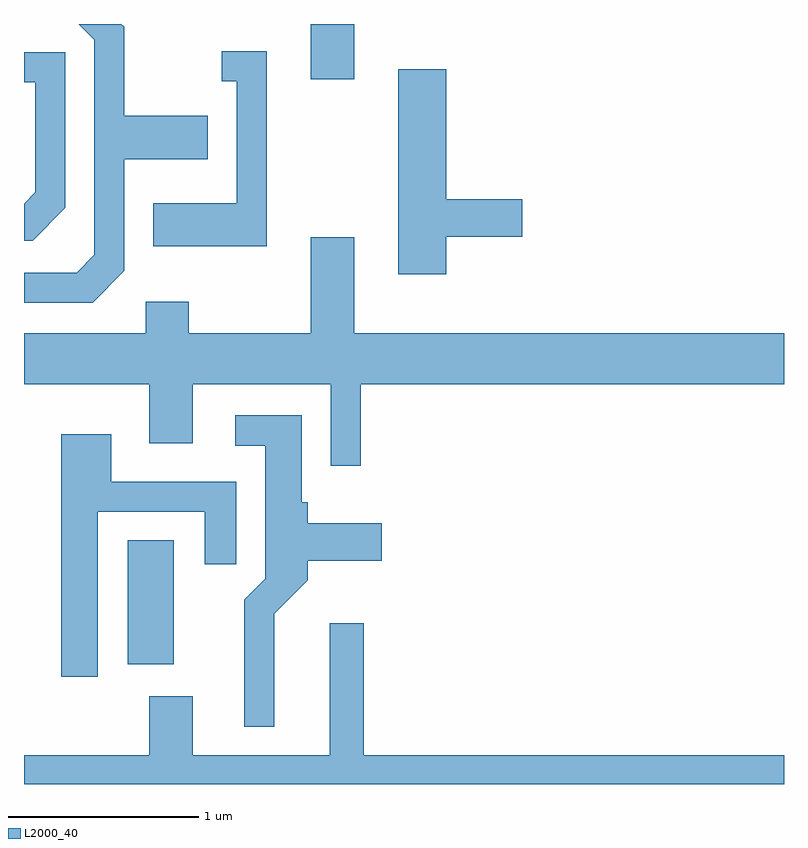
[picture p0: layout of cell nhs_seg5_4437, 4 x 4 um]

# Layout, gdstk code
import gdstk
lib = gdstk.Library(unit=1e-6, precision=1e-09)
def R(c, l, rs):  # rectangles x0, y0, x1, y1
    for r in rs: c.add(gdstk.rectangle(r[:2], r[2:], *l))
def P(c, l, *ps):  # polygons
    for p in ps: c.add(gdstk.Polygon(p, *l))
L2000_40 = (2000, 40)

nhs_seg5_4437 = lib.new_cell('nhs_seg5_4437')
R(nhs_seg5_4437, L2000_40, [(318.156,1408.701,318.399,1409.354), (319.121,1411.781,319.349,1412.072)])
P(nhs_seg5_4437, L2000_40, [(318.139,1410.774),(318.139,1411.361),(318.579,1411.361),(318.579,1411.589),(318.139,1411.589),(318.139,1412.057),(318.124,1412.072),(317.898,1412.072),(317.981,1411.989),(317.981,1410.857),(317.889,1410.764),(317.611,1410.764),(317.611,1410.606),(317.972,1410.606)],
  [(318.889,1411.929),(318.653,1411.929),(318.653,1411.771),(318.731,1411.771),(318.731,1411.129),(318.291,1411.129),(318.291,1410.901),(318.889,1410.901)],
  [(317.829,1411.104),(317.829,1411.924),(317.611,1411.924),(317.611,1411.766),(317.671,1411.766),(317.671,1411.187),(317.611,1411.126),(317.611,1410.931),(317.657,1410.931)],
  [(319.834,1410.951),(320.234,1410.951),(320.234,1411.149),(319.834,1411.149),(319.834,1411.834),(319.581,1411.834),(319.581,1410.756),(319.834,1410.756)],
  [(318.479,1410.609),(318.251,1410.609),(318.251,1410.444),(317.611,1410.444),(317.611,1410.176),(318.271,1410.176),(318.271,1409.866),(318.499,1409.866),(318.499,1410.176),(319.226,1410.176),(319.226,1409.748),(319.384,1409.748),(319.384,1410.176),(321.611,1410.176),(321.611,1410.444),(319.349,1410.444),(319.349,1410.949),(319.121,1410.949),(319.121,1410.444),(318.479,1410.444)],
  [(318.929,1408.969),(319.104,1409.144),(319.104,1409.246),(319.494,1409.246),(319.494,1409.444),(319.104,1409.444),(319.104,1409.554),(319.074,1409.554),(319.074,1410.014),(318.723,1410.014),(318.723,1409.851),(318.881,1409.851),(318.881,1409.152),(318.771,1409.042),(318.771,1408.373),(318.929,1408.373)],
  [(317.999,1409.506),(318.561,1409.506),(318.561,1409.228),(318.729,1409.228),(318.729,1409.664),(318.069,1409.664),(318.069,1409.914),(317.806,1409.914),(317.806,1408.636),(317.999,1408.636)],
  [(321.611,1408.224),(319.399,1408.224),(319.399,1408.919),(319.221,1408.919),(319.221,1408.224),(318.499,1408.224),(318.499,1408.534),(318.271,1408.534),(318.271,1408.224),(317.611,1408.224),(317.611,1408.072),(321.611,1408.072)])

lib.write_gds('nhs_seg5_4437.gds')
